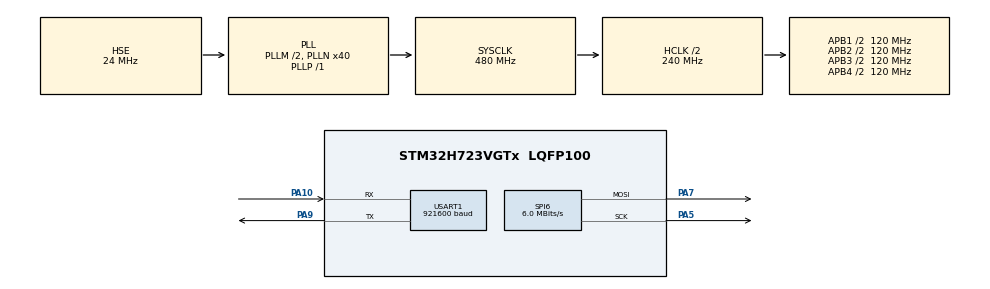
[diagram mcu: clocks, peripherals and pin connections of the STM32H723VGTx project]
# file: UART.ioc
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CORTEX_M7.default_mode_Activation=1
Mcu.Family=STM32H7
Mcu.Name=STM32H723VGTx
Mcu.Package=LQFP100
NVIC.PriorityGroup=NVIC_PRIORITYGROUP_4
NVIC.USART1_IRQn=true\:0\:0\:false\:false\:true\:true\:true\:true
PA10.Mode=Asynchronous
PA10.Signal=USART1_RX
PA13(JTMS/SWDIO).Mode=Serial_Wire
PA13(JTMS/SWDIO).Signal=DEBUG_JTMS-SWDIO
PA14(JTCK/SWCLK).Mode=Serial_Wire
PA14(JTCK/SWCLK).Signal=DEBUG_JTCK-SWCLK
PA5.Mode=TX_Only_Simplex_Unidirect_Master
PA5.Signal=SPI6_SCK
PA7.Mode=TX_Only_Simplex_Unidirect_Master
PA7.Signal=SPI6_MOSI
PA9.Mode=Asynchronous
PA9.Signal=USART1_TX
PH0-OSC_IN.Mode=HSE-External-Oscillator
PH0-OSC_IN.Signal=RCC_OSC_IN
PH1-OSC_OUT.Mode=HSE-External-Oscillator
PH1-OSC_OUT.Signal=RCC_OSC_OUT
ProjectManager.HeapSize=0x200
ProjectManager.StackSize=0x400
ProjectManager.TargetToolchain=CMake
RCC.ADCFreq_Value=48375000
RCC.APB1Freq_Value=120000000
RCC.APB2Freq_Value=120000000
RCC.APB3Freq_Value=120000000
RCC.APB4Freq_Value=120000000
RCC.CortexFreq_Value=480000000
RCC.D1PPRE=RCC_APB3_DIV2
RCC.D2PPRE1=RCC_APB1_DIV2
RCC.D2PPRE2=RCC_APB2_DIV2
RCC.D3PPRE=RCC_APB4_DIV2
RCC.DIVM1=2
RCC.DIVN1=40
RCC.DIVP1=1
RCC.HCLKFreq_Value=240000000
RCC.HPRE=RCC_HCLK_DIV2
RCC.HSE_VALUE=24000000
RCC.PLLFRACN=0
RCC.PLLSourceVirtual=RCC_PLLSOURCE_HSE
RCC.SPI6CLockSelection=RCC_SPI6CLKSOURCE_HSE
RCC.SYSCLKFreq_VALUE=480000000
RCC.SYSCLKSource=RCC_SYSCLKSOURCE_PLLCLK
RCC.USBFreq_Value=240000000
SPI6.BaudRatePrescaler=SPI_BAUDRATEPRESCALER_4
SPI6.CLKPhase=SPI_PHASE_2EDGE
SPI6.CalculateBaudRate=6.0 MBits/s
SPI6.DataSize=SPI_DATASIZE_8BIT
SPI6.Direction=SPI_DIRECTION_2LINES_TXONLY
SPI6.Mode=SPI_MODE_MASTER
SPI6.VirtualType=VM_MASTER
USART1.BaudRate=921600
USART1.VirtualMode-Asynchronous=VM_ASYNC
VP_MEMORYMAP_VS_MEMORYMAP.Mode=CurAppReg
board=custom

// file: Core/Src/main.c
/* USER CODE BEGIN Header */
/**
  ******************************************************************************
  * @file           : main.c
  * @brief          : Main program body
  ******************************************************************************
  * @attention
  *
  * Copyright (c) 2025 STMicroelectronics.
  * All rights reserved.
  *
  * This software is licensed under terms that can be found in the LICENSE file
  * in the root directory of this software component.
  * If no LICENSE file comes with this software, it is provided AS-IS.
  *
  ******************************************************************************
  */
/* USER CODE END Header */
#include "main.h"
#include "memorymap.h"
#include "spi.h"
#include "usart.h"
#include "gpio.h"

/* USER CODE BEGIN Includes */

#include <string.h>
#include "bsp_uart.h"
#include "WS2812.h"

/* USER CODE END Includes */

void SystemClock_Config(void);

static void MPU_Config(void);

/* USER CODE BEGIN 0 */
int r = 0;
int g = 0;
int b = 0;
/* USER CODE END 0 */

int main(void) {

    /* MPU Configuration--------------------------------------------------------*/
    MPU_Config();

    /* MCU Configuration--------------------------------------------------------*/

    /* Reset of all peripherals, Initializes the Flash interface and the Systick. */
    HAL_Init();

    /* Configure the system clock */
    SystemClock_Config();

    /* Initialize all configured peripherals */
    MX_GPIO_Init();
    MX_USART1_UART_Init();
    MX_SPI6_Init();
    /* USER CODE BEGIN 2 */

    uint8_t data[] = {0x00, 0x01, 0x02, 0x03, 0x04, 0x05, 0x06, 0x07};
    char str[] = "Hello World!";

    // 开启串口接收中断
    HAL_UART_Receive_IT(&huart1, Data_Buffer, sizeof(Data_Buffer));

    /* USER CODE END 2 */

    /* Infinite loop */
    while (1) {

        /* USER CODE BEGIN 3 */
        /** 实验一：单片机通过串口向电脑发送数据 **/
//        HAL_UART_Transmit(&huart1, data, sizeof(data) / sizeof(data[0]), 0xffff);
//        HAL_UART_Transmit(&huart1, (uint8_t *) str, strlen(str), 0xffff);
//        HAL_Delay(500);

        /** 实验二：通过串口通信点亮LED **/
        if (Data[0] == 0x01) {
            r = 1;
            g = 0;
            b = 0;
        }
        if (Data[1] == 0x01) {
            r = 0;
            g = 1;
            b = 0;
        }
        if (Data[2] == 0x01) {
            r = 0;
            g = 0;
            b = 1;
        }

        WS2812_Ctrl(r, g, b);
        HAL_Delay(500);

    }
    /* USER CODE END 3 */
}

void SystemClock_Config(void) {
    RCC_OscInitTypeDef RCC_OscInitStruct = {0};
    RCC_ClkInitTypeDef RCC_ClkInitStruct = {0};

    /** Supply configuration update enable
    */
    HAL_PWREx_ConfigSupply(PWR_LDO_SUPPLY);

    /** Configure the main internal regulator output voltage
    */
    __HAL_PWR_VOLTAGESCALING_CONFIG(PWR_REGULATOR_VOLTAGE_SCALE0);

    while (!__HAL_PWR_GET_FLAG(PWR_FLAG_VOSRDY)) {}

    /** Initializes the RCC Oscillators according to the specified parameters
    * in the RCC_OscInitTypeDef structure.
    */
    RCC_OscInitStruct.OscillatorType = RCC_OSCILLATORTYPE_HSE;
    RCC_OscInitStruct.HSEState = RCC_HSE_ON;
    RCC_OscInitStruct.PLL.PLLState = RCC_PLL_ON;
    RCC_OscInitStruct.PLL.PLLSource = RCC_PLLSOURCE_HSE;
    RCC_OscInitStruct.PLL.PLLM = 2;
    RCC_OscInitStruct.PLL.PLLN = 40;
    RCC_OscInitStruct.PLL.PLLP = 1;
    RCC_OscInitStruct.PLL.PLLQ = 2;
    RCC_OscInitStruct.PLL.PLLR = 2;
    RCC_OscInitStruct.PLL.PLLRGE = RCC_PLL1VCIRANGE_3;
    RCC_OscInitStruct.PLL.PLLVCOSEL = RCC_PLL1VCOWIDE;
    RCC_OscInitStruct.PLL.PLLFRACN = 0;
    if (HAL_RCC_OscConfig(&RCC_OscInitStruct) != HAL_OK) {
        Error_Handler();
    }

    /** Initializes the CPU, AHB and APB buses clocks
    */
    RCC_ClkInitStruct.ClockType = RCC_CLOCKTYPE_HCLK | RCC_CLOCKTYPE_SYSCLK
                                  | RCC_CLOCKTYPE_PCLK1 | RCC_CLOCKTYPE_PCLK2
                                  | RCC_CLOCKTYPE_D3PCLK1 | RCC_CLOCKTYPE_D1PCLK1;
    RCC_ClkInitStruct.SYSCLKSource = RCC_SYSCLKSOURCE_PLLCLK;
    RCC_ClkInitStruct.SYSCLKDivider = RCC_SYSCLK_DIV1;
    RCC_ClkInitStruct.AHBCLKDivider = RCC_HCLK_DIV2;
    RCC_ClkInitStruct.APB3CLKDivider = RCC_APB3_DIV2;
    RCC_ClkInitStruct.APB1CLKDivider = RCC_APB1_DIV2;
    RCC_ClkInitStruct.APB2CLKDivider = RCC_APB2_DIV2;
    RCC_ClkInitStruct.APB4CLKDivider = RCC_APB4_DIV2;

    if (HAL_RCC_ClockConfig(&RCC_ClkInitStruct, FLASH_LATENCY_3) != HAL_OK) {
        Error_Handler();
    }
}

/* MPU Configuration */

void MPU_Config(void) {
    MPU_Region_InitTypeDef MPU_InitStruct = {0};

    /* Disables the MPU */
    HAL_MPU_Disable();

    /** Initializes and configures the Region and the memory to be protected
    */
    MPU_InitStruct.Enable = MPU_REGION_ENABLE;
    MPU_InitStruct.Number = MPU_REGION_NUMBER0;
    MPU_InitStruct.BaseAddress = 0x0;
    MPU_InitStruct.Size = MPU_REGION_SIZE_4GB;
    MPU_InitStruct.SubRegionDisable = 0x87;
    MPU_InitStruct.TypeExtField = MPU_TEX_LEVEL0;
    MPU_InitStruct.AccessPermission = MPU_REGION_NO_ACCESS;
    MPU_InitStruct.DisableExec = MPU_INSTRUCTION_ACCESS_DISABLE;
    MPU_InitStruct.IsShareable = MPU_ACCESS_SHAREABLE;
    MPU_InitStruct.IsCacheable = MPU_ACCESS_NOT_CACHEABLE;
    MPU_InitStruct.IsBufferable = MPU_ACCESS_NOT_BUFFERABLE;

    HAL_MPU_ConfigRegion(&MPU_InitStruct);
    /* Enables the MPU */
    HAL_MPU_Enable(MPU_PRIVILEGED_DEFAULT);

}

void Error_Handler(void) {
    __disable_irq();
    while (1) {
    }
}
